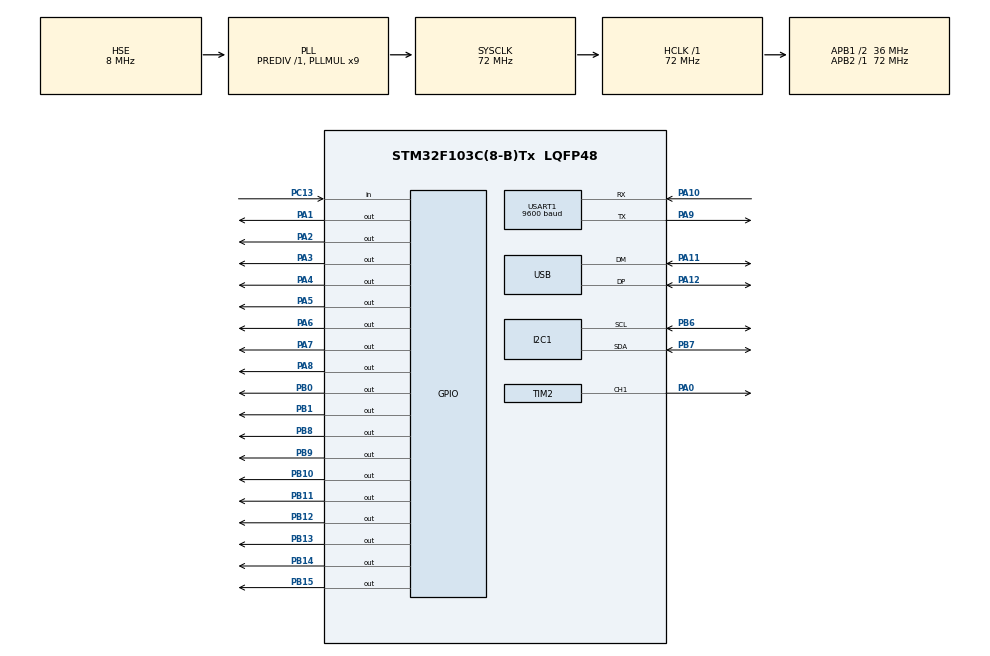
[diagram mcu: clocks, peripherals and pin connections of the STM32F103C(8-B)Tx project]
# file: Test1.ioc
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Mcu.Family=STM32F1
Mcu.Name=STM32F103C(8-B)Tx
Mcu.Package=LQFP48
NVIC.PriorityGroup=NVIC_PRIORITYGROUP_4
NVIC.TIM2_IRQn=true\:15\:0\:true\:false\:true\:true\:true\:true
NVIC.USART1_IRQn=true\:14\:0\:true\:false\:true\:true\:true\:true
NVIC.USB_LP_CAN1_RX0_IRQn=true\:0\:0\:false\:false\:true\:false\:true\:true
PA0-WKUP.Signal=S_TIM2_CH1_ETR
PA1.Signal=GPIO_Output
PA10.Mode=Asynchronous
PA10.Signal=USART1_RX
PA11.Mode=Device
PA11.Signal=USB_DM
PA12.Mode=Device
PA12.Signal=USB_DP
PA2.Signal=GPIO_Output
PA3.Signal=GPIO_Output
PA4.Signal=GPIO_Output
PA5.Signal=GPIO_Output
PA6.Signal=GPIO_Output
PA7.Signal=GPIO_Output
PA8.Signal=GPIO_Output
PA9.Mode=Asynchronous
PA9.Signal=USART1_TX
PB0.Signal=GPIO_Output
PB1.Signal=GPIO_Output
PB10.Signal=GPIO_Output
PB11.Signal=GPIO_Output
PB12.Signal=GPIO_Output
PB13.Signal=GPIO_Output
PB14.Signal=GPIO_Output
PB15.Signal=GPIO_Output
PB6.Mode=I2C
PB6.Signal=I2C1_SCL
PB7.Mode=I2C
PB7.Signal=I2C1_SDA
PB8.Signal=GPIO_Output
PB9.Signal=GPIO_Output
PC13-TAMPER-RTC.GPIO_PuPd=GPIO_PULLUP
PC13-TAMPER-RTC.Signal=GPIO_Input
PD0-OSC_IN.Mode=HSE-External-Oscillator
PD0-OSC_IN.Signal=RCC_OSC_IN
PD1-OSC_OUT.Mode=HSE-External-Oscillator
PD1-OSC_OUT.Signal=RCC_OSC_OUT
ProjectManager.HeapSize=0x200
ProjectManager.StackSize=0x400
ProjectManager.TargetToolchain=Makefile
RCC.AHBFreq_Value=72000000
RCC.APB1CLKDivider=RCC_HCLK_DIV2
RCC.APB1Freq_Value=36000000
RCC.APB1TimFreq_Value=72000000
RCC.APB2Freq_Value=72000000
RCC.APB2TimFreq_Value=72000000
RCC.HCLKFreq_Value=72000000
RCC.PLLMUL=RCC_PLL_MUL9
RCC.PLLSourceVirtual=RCC_PLLSOURCE_HSE
RCC.SYSCLKFreq_VALUE=72000000
RCC.SYSCLKSource=RCC_SYSCLKSOURCE_PLLCLK
RCC.USBFreq_Value=48000000
RCC.USBPrescaler=RCC_USBCLKSOURCE_PLL_DIV1_5
SH.S_TIM2_CH1_ETR.0=TIM2_CH1,Output Compare1 CH1
TIM2.Channel-Output\ Compare1\ CH1=TIM_CHANNEL_1
TIM2.OCMode_1=TIM_OCMODE_TIMING
TIM2.Period=1
TIM2.Prescaler=7199
USART1.BaudRate=9600
USART1.VirtualMode=VM_ASYNC
USB_DEVICE.CLASS_NAME_FS=CDC
USB_DEVICE.VirtualMode=Cdc
USB_DEVICE.VirtualModeFS=Cdc_FS
VP_SYS_VS_ND.Mode=No_Debug
VP_TIM2_VS_ClockSourceINT.Mode=Internal
VP_USB_DEVICE_VS_USB_DEVICE_CDC_FS.Mode=CDC_FS
board=custom

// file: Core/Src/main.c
/* USER CODE BEGIN Header */
/**
  ******************************************************************************
  * @file           : main.c
  * @brief          : Main program body
  ******************************************************************************
  * @attention
  *
  * Copyright (c) 2024 STMicroelectronics.
  * All rights reserved.
  *
  * This software is licensed under terms that can be found in the LICENSE file
  * in the root directory of this software component.
  * If no LICENSE file comes with this software, it is provided AS-IS.
  *
  ******************************************************************************
  */
/* USER CODE END Header */
#include "main.h"
#include "i2c.h"
#include "tim.h"
#include "usart.h"
#include "usb_device.h"
#include "gpio.h"

/* USER CODE BEGIN Includes */
#include <stdio.h>      // add for printf
#include <string.h>
#include "liquidcrystal_i2c.h"
/* USER CODE END Includes */

/* USER CODE BEGIN PV */
uint8_t uart_buf[1];
uint8_t ticks;  // timer2 ticks
uint8_t SM_State; // State for the State Machine

GPIO_TypeDef *RGB_GPIO_Banks[] = {GPIOB, GPIOB, GPIOA};
uint16_t RGB_GPIO_Pins[] = {GPIO_PIN_0, GPIO_PIN_1, GPIO_PIN_8};

uint8_t colors_Mode_A[4][3] = {
  {0, 100, 0},
  {75, 70, 40},
  {30, 60, 90},
  {0, 0, 0}
};

uint8_t colors_Mode_B[4][3] = {
  {100, 0, 0},
  {90, 30, 30},
  {0, 70, 70},
  {100, 100, 100}
};

uint8_t colors_Mode_C[4][3] = {
  {0, 0, 100},
  {80, 50, 0},
  {50, 0, 50},
  {0, 0, 0}
};

uint8_t (*color_PWM_Set[3])[3] = { colors_Mode_A, colors_Mode_B, colors_Mode_C };
uint8_t color_PWM[4][3];

char* morse_Messages[] = {
  "..--- ----. / ... - .- .-. -",
  ". -.-. .... .. .--. .- / ..--- ----.",
  ".... . .-.. .-.. --- / ..--- ----.",
};

char morse_Msg[64] = "..--- ----. / ... - .- .-. -";

uint8_t current_Mode = 0; //0 - A, 1 - B, 2 - C
uint8_t T = 100 ;

uint8_t test_mode = 0; // 0=RGB mode, 1=Cable test
uint8_t last_button_state = 1;
/* USER CODE END PV */

typedef enum {
  CABLE_STRAIGHT,
  CABLE_CROSSOVER,
  CABLE_FAULTY
} CableType;

const char* cable_type_names[] = {
  "Straight",
  "Crossover",
  "Faulty"
};
/* USER CODE END PV */

/* USER CODE END PV */

void SystemClock_Config(void);

/* USER CODE BEGIN 0 */

#ifdef __GNUC__
#define PUTCHAR_PROTOTYPE int __io_putchar(int ch)
#else
#define PUTCHAR_PROTOTYPE int fputc(int ch, FILE *f)
#endif

/**
  * @brief  Retargets the C library printf function to the USART.
  * @param  None
  * @retval None
  */
PUTCHAR_PROTOTYPE
{
  HAL_UART_Transmit(&huart1, (uint8_t *)&ch, 1, 0xFFFF);
  return ch;
}

/* also redefine _write for printf*/
int _write(int fd, char * ptr, int len)
{
  HAL_UART_Transmit(&huart1, (uint8_t *) ptr, len, HAL_MAX_DELAY);
  return len;
}
uint8_t dot_Color[] = {1, 0, 1};
uint8_t dash_Color[] = {0, 1, 0};
void dot() {
  uint8_t dot_Color[] = {1, 0, 1};

  for(unsigned int k=0; k<3; k++)
    HAL_GPIO_WritePin(RGB_GPIO_Banks[k], RGB_GPIO_Pins[k], dot_Color[k]);
  HAL_Delay(T);

  for(unsigned int k=0; k<3; k++)
    HAL_GPIO_WritePin(RGB_GPIO_Banks[k], RGB_GPIO_Pins[k], 0);
  HAL_Delay(T);
}

void dash() {
  uint8_t dash_Color[] = {0, 1, 0};

  for(unsigned int k=0; k<3; k++)
    HAL_GPIO_WritePin(RGB_GPIO_Banks[k], RGB_GPIO_Pins[k], dash_Color[k]);
  HAL_Delay(3*T);

  for(unsigned int k=0; k<3; k++)
    HAL_GPIO_WritePin(RGB_GPIO_Banks[k], RGB_GPIO_Pins[k], 0);
  HAL_Delay(T);
}

void morse_Send(char* msg) {
  printf("\r\n\r\n[ SENDING MESSAGE ]\r\n");
  for(unsigned int j=0; j<strlen(msg); j++) {
    switch(morse_Msg[j]) {
      case '.':
        dot();
        break;
      case '-':
        dash();
        break;
      default:
        HAL_Delay(3*T);
    }
    printf("%c", morse_Msg[j]);
  }
  printf("\r\n");
}

void morse_Trigger(char c) {
  char s[] = "morse";
  static unsigned int i = 0;

  if(c == 'A' || c == 'B' || c == 'C') {
    current_Mode = c - 'A';  // Set mode 0, 1 or 2
    memcpy(color_PWM, color_PWM_Set[current_Mode], sizeof(color_PWM));
    strcpy(morse_Msg, morse_Messages[current_Mode]);
    printf("Switched to mode %c\r\n", c);
    return;
  }

  if(c == s[i])
    i++;
  else
    i = 0;

  if(!s[i]) {
    i = 0;
    morse_Send(morse_Msg);
  }
}

/* Callback function for UART RX Complete: process incoming character */
void HAL_UART_RxCpltCallback(UART_HandleTypeDef *huart)
{
  if(uart_buf[0] == 'T') { // Toggle test mode
    test_mode = !test_mode;
    HD44780_Clear();
    HD44780_PrintStr(test_mode ? "Cable Test Mode" : "RGB Mode");
  }
  else
    printf("Code Version %d.%d\r\n",SW_VERSION/10, SW_VERSION%10);

  HAL_UART_Receive_IT(&huart1, uart_buf, 1); // reactivate interrupt for next char
}

/* Callback function for TIM2 period elapsed */
void HAL_TIM_PeriodElapsedCallback(TIM_HandleTypeDef *htim2)
{
  if(ticks++ == 100) {    // 100 timer2 ticks = one hundredth of a second! This is fitting for 100Hz PWM with 1% resolution
    ticks=0;   // reset
    for(unsigned int i=0; i<3; i++)
      if(color_PWM[SM_State][i])
        HAL_GPIO_WritePin(RGB_GPIO_Banks[i], RGB_GPIO_Pins[i], 1);
  }

  for(unsigned int i=0; i<3; i++) {
    if(ticks == color_PWM[SM_State][i])
      HAL_GPIO_WritePin(RGB_GPIO_Banks[i], RGB_GPIO_Pins[i], 0);
  }
}

/* USER CODE BEGIN 0 */

void run_cable_test() {
    uint8_t wire_connections[8][8] = {0}; // Connection matrix
    uint16_t pa_pins[8] = {GPIO_PIN_1, GPIO_PIN_2, GPIO_PIN_3, GPIO_PIN_4,
                          GPIO_PIN_5, GPIO_PIN_6, GPIO_PIN_7, GPIO_PIN_8};
    uint16_t pb_pins[8] = {GPIO_PIN_8, GPIO_PIN_9, GPIO_PIN_10, GPIO_PIN_11,
                          GPIO_PIN_12, GPIO_PIN_13, GPIO_PIN_14, GPIO_PIN_15};

    // Test all connections
    for (uint8_t pa_idx = 0; pa_idx < 8; pa_idx++) {
        HAL_GPIO_WritePin(GPIOA, pa_pins[pa_idx], GPIO_PIN_SET);
        HAL_Delay(5);
        for (uint8_t pb_idx = 0; pb_idx < 8; pb_idx++) {
            wire_connections[pa_idx][pb_idx] =
                HAL_GPIO_ReadPin(GPIOB, pb_pins[pb_idx]) ? 1 : 0;
        }
        HAL_GPIO_WritePin(GPIOA, pa_pins[pa_idx], GPIO_PIN_RESET);
    }

    // Count total connections
    uint8_t total_connections = 0;
    for (uint8_t i = 0; i < 8; i++) {
        for (uint8_t j = 0; j < 8; j++) {
            total_connections += wire_connections[i][j];
        }
    }

    HD44780_Clear();
    HD44780_SetCursor(0, 0);

    if (total_connections == 0) {
        HD44780_PrintStr("NO CABLE");
        return;
    }

    // Check for YOUR crossover pattern: 2<->4 and 7<->8
    if ((wire_connections[1][3] && wire_connections[3][1]) &&
        (wire_connections[6][7] && wire_connections[7][6])) {
        HD44780_PrintStr("CROSSOVER CABLE");
        return;
    }

    // Check for straight cable
    uint8_t straight_connections = 0;
    for (uint8_t i = 0; i < 8; i++) {
        if (wire_connections[i][i] == 1) {
            straight_connections++;
        }
    }

    if (straight_connections >= 6) {
        HD44780_PrintStr("STRAIGHT CABLE");
        return;
    }

    HD44780_PrintStr("FAULTY CABLE");
    show_faulty_pins(wire_connections);
}

void show_faulty_pins(uint8_t wire_connections[8][8]) {
    HD44780_SetCursor(0, 1);
    for (uint8_t i = 0; i < 8; i++) {
        uint8_t connected = 0;
        for (uint8_t j = 0; j < 8; j++) {
            connected |= wire_connections[i][j];
        }
        if (!connected) {
            char buf[4];
            sprintf(buf, "%d ", i+1);
            HD44780_PrintStr(buf);
        }
    }
}
/* USER CODE END 0 */

int main(void)
{

  /* USER CODE BEGIN 1 */
  /****************************************************************************/
  /********************************      MAIN        **************************/
  /****************************************************************************/

  /* USER CODE END 1 */

  /* MCU Configuration--------------------------------------------------------*/

  /* Reset of all peripherals, Initializes the Flash interface and the Systick. */
  HAL_Init();

  /* Configure the system clock */
  SystemClock_Config();

  /* Initialize all configured peripherals */
  MX_GPIO_Init();
  MX_USART1_UART_Init();
  MX_USB_DEVICE_Init();
  MX_TIM2_Init();
  MX_I2C1_Init();
  /* USER CODE BEGIN 2 */
  HAL_UART_Receive_IT(&huart1, uart_buf, 1); // enable UART Rx IT=interrupt
  HAL_TIM_Base_Start_IT(&htim2);  //enable Timer 2 interrupt
  memcpy(color_PWM, color_PWM_Set[current_Mode], sizeof(color_PWM));
  // Initialize LCD (16 columns, 2 rows)
HD44780_Init(2);
HD44780_Backlight();
HD44780_Clear();
HD44780_SetCursor(0, 0);
HD44780_PrintStr("hello world from");
HD44780_SetCursor(0, 1);
HD44780_PrintStr("haidamacu");
  /* USER CODE END 2 */

  /* Infinite loop */
  /* USER CODE BEGIN WHILE */

  setbuf(stdout, NULL);
  printf("Code version %d.%d starting...\r\n", SW_VERSION/10, SW_VERSION%10);
  /*********************************** main loop *************************************************/
  while (1)
  {
    /* USER CODE END WHILE */

  /* USER CODE BEGIN 3 */
static uint32_t button_press_time = 0;
static uint8_t last_button_state = 1; // Initialize with button released state

// Read current button state properly
uint8_t current_button_state = HAL_GPIO_ReadPin(GPIOC, GPIO_PIN_13);

// Detect button press (falling edge)
if(last_button_state && !current_button_state) {
    button_press_time = HAL_GetTick();
}
// Detect button release (rising edge)
else if(!last_button_state && current_button_state) {
    if(button_press_time > 0) {
        // Long press detection (>1000ms)
        if(HAL_GetTick() - button_press_time > 1000) {
            test_mode = !test_mode;
            HD44780_Clear();
            HD44780_PrintStr(test_mode ? "Cable Test Mode" : "RGB MODE");
        }
        // Short press action
        else {
            if(test_mode) {
                run_cable_test();
            } else {
                SM_State = (SM_State+1)%4;
                printf("R:%d G:%d B:%d\r\n",
                    color_PWM[SM_State][0],
                    color_PWM[SM_State][1],
                    color_PWM[SM_State][2]);
            }
        }
        button_press_time = 0;
    }
}

// Update last state at the END of the loop iteration
last_button_state = current_button_state;

HAL_Delay(10); // Small delay to reduce CPU usage
/* USER CODE END 3 */

}

}
void SystemClock_Config(void)
{
  RCC_OscInitTypeDef RCC_OscInitStruct = {0};
  RCC_ClkInitTypeDef RCC_ClkInitStruct = {0};
  RCC_PeriphCLKInitTypeDef PeriphClkInit = {0};

  /** Initializes the RCC Oscillators according to the specified parameters
  * in the RCC_OscInitTypeDef structure.
  */
  RCC_OscInitStruct.OscillatorType = RCC_OSCILLATORTYPE_HSE;
  RCC_OscInitStruct.HSEState = RCC_HSE_ON;
  RCC_OscInitStruct.HSEPredivValue = RCC_HSE_PREDIV_DIV1;
  RCC_OscInitStruct.HSIState = RCC_HSI_ON;
  RCC_OscInitStruct.PLL.PLLState = RCC_PLL_ON;
  RCC_OscInitStruct.PLL.PLLSource = RCC_PLLSOURCE_HSE;
  RCC_OscInitStruct.PLL.PLLMUL = RCC_PLL_MUL9;
  if (HAL_RCC_OscConfig(&RCC_OscInitStruct) != HAL_OK)
  {
    Error_Handler();
  }

  /** Initializes the CPU, AHB and APB buses clocks
  */
  RCC_ClkInitStruct.ClockType = RCC_CLOCKTYPE_HCLK|RCC_CLOCKTYPE_SYSCLK
                              |RCC_CLOCKTYPE_PCLK1|RCC_CLOCKTYPE_PCLK2;
  RCC_ClkInitStruct.SYSCLKSource = RCC_SYSCLKSOURCE_PLLCLK;
  RCC_ClkInitStruct.AHBCLKDivider = RCC_SYSCLK_DIV1;
  RCC_ClkInitStruct.APB1CLKDivider = RCC_HCLK_DIV2;
  RCC_ClkInitStruct.APB2CLKDivider = RCC_HCLK_DIV1;

  if (HAL_RCC_ClockConfig(&RCC_ClkInitStruct, FLASH_LATENCY_2) != HAL_OK)
  {
    Error_Handler();
  }
  PeriphClkInit.PeriphClockSelection = RCC_PERIPHCLK_USB;
  PeriphClkInit.UsbClockSelection = RCC_USBCLKSOURCE_PLL_DIV1_5;
  if (HAL_RCCEx_PeriphCLKConfig(&PeriphClkInit) != HAL_OK)
  {
    Error_Handler();
  }
}

void Error_Handler(void)
{
  __disable_irq();
  while (1)
  {
  }
}
